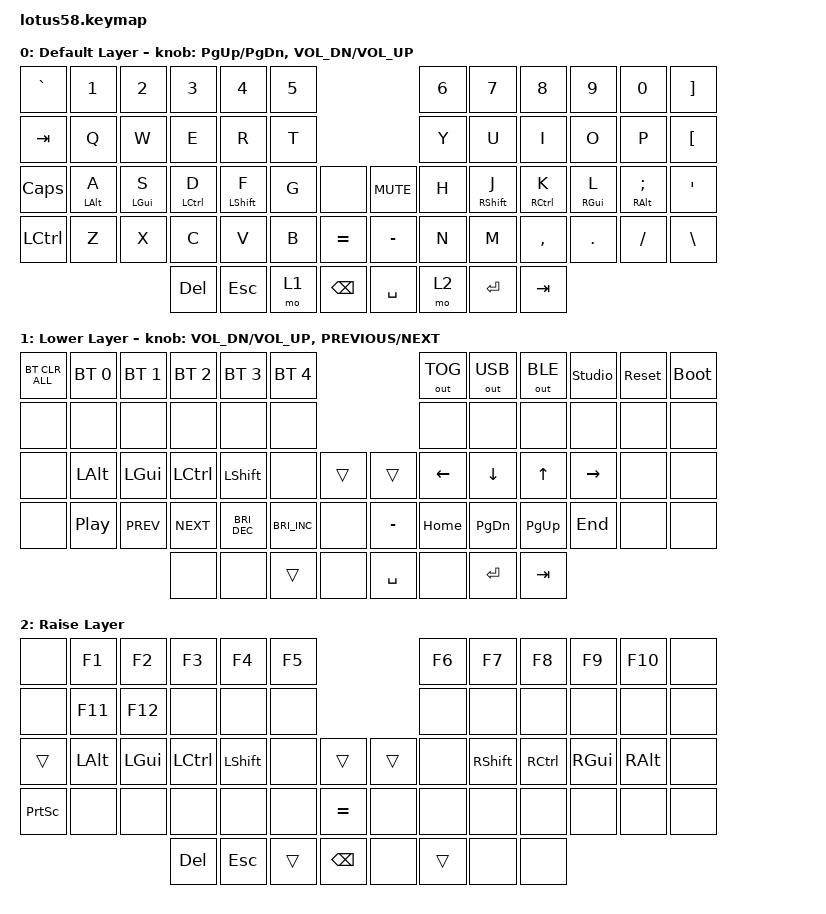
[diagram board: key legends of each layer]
/*
 * Copyright (c) 2022 The ZMK Contributors
 *
 * SPDX-License-Identifier: MIT
 */

#include <behaviors.dtsi>
#include <dt-bindings/zmk/bt.h>
#include <dt-bindings/zmk/keys.h>
#include <dt-bindings/zmk/outputs.h>

/*
// Encoders

&sensors { triggers-per-rotation = <30>; };

&left_encoder { steps = <60>; };

&right_encoder { steps = <60>; };
*/

&mt {
    tapping-term-ms = <150>;
    flavor = "tap-preferred";
};

/ {
    combos { compatible = "zmk,combos"; };

    keymap {
        compatible = "zmk,keymap";

        default_layer {
            display-name = "Default Layer";

            //   ------------------------------------------------------------------------------------------------------------
            //  0|  ESC  |  1  |  2  |  3   |  4   |  5   |                     |  6   |  7    |  8    |  9   |   0   |   =   | 11
            // 12|  TAB  |  Q  |  W  |  E   |  R   |  T   |                     |  Y   |  U    |  I    |  O   |   P   |   [   | 23
            // 24|  SFT  |  A  |  S  |  D   |  F   |  G   |  RESET  |  | RESET  |  H   |  J    |  K    |  L   |   ;   | ' SFT | 37
            // 38|  CTRL |  Z  |  X  |  C   |  V   |  B   |  MUTE   |  | PLAY   |  N   |  M    |  ,    |  .   |   /   | \ CTRL| 51
            // 52                    |ENT RS|  ALT | SPACE|DELETE LW|  |ENTER RS| BSPC |  ] LW | RGUI  |                        59

            bindings = <
&kp GRAVE  &kp N1          &kp N2          &kp N3       &kp NUMBER_4      &kp N5                             &kp N6  &kp N7             &kp N8       &kp N9           &kp N0              &kp RIGHT_BRACKET
&kp TAB    &kp Q           &kp W           &kp E        &kp R             &kp T                              &kp Y   &kp U              &kp I        &kp O            &kp P               &kp LEFT_BRACKET
&kp CAPS   &mt LEFT_ALT A  &mt LEFT_GUI S  &mt LCTRL D  &mt LEFT_SHIFT F  &kp G   &none          &kp C_MUTE  &kp H   &mt RIGHT_SHIFT J  &mt RCTRL K  &mt RIGHT_GUI L  &mt RIGHT_ALT SEMI  &kp APOS
&kp LCTRL  &kp Z           &kp X           &kp C        &kp V             &kp B   &kp EQUAL      &kp MINUS   &kp N   &kp M              &kp COMMA    &kp DOT          &kp FSLH            &kp BACKSLASH
                                           &kp DEL      &kp ESCAPE        &mo 1   &kp BACKSPACE  &kp SPACE   &mo 2   &kp ENTER          &kp TAB
            >;

            sensor-bindings = <&inc_dec_kp PG_UP PG_DN &inc_dec_kp C_VOL_DN C_VOL_UP>;
        };

        lower_layer {
            display-name = "Lower Layer";

            // ------------------------------------------------------------------------------------------------------------
            // | `     |  F1 |  F2 |  F3  |  F4  |  F5  |                   |  F6  |  F7   |  F8   |  F9  |  F10  |  F11  |
            // |       |  !  | HOME|   ^  |  END |  %   |                   | VOL^ |  PGUP |  INS  |  ^   |  PSCR |   -   |
            // |       |  #  |  <- |   v  | ->   |  $   |        |  |       | VOLv |    <- |   ^   |  ->  |   ~   |   _   |
            // |       |  @  |  -  |  (   |  )   |  &   |        |  |       | MUTE |  PGDN |   v   |  :   |   *   |   |   |
            //                     |  F11 |      |      |        |  |       |      |       |  F12  |

            bindings = <
&bt BT_CLR_ALL  &bt BT_SEL 0      &bt BT_SEL 1  &bt BT_SEL 2  &bt BT_SEL 3          &bt BT_SEL 4                             &out OUT_TOG  &out OUT_USB  &out OUT_BLE  &studio_unlock  &sys_reset  &bootloader
&none           &none             &none         &none         &none                 &none                                    &none         &none         &none         &none           &none       &none
&none           &kp LEFT_ALT      &kp LEFT_GUI  &kp LCTRL     &kp LEFT_SHIFT        &none                 &trans  &trans     &kp LEFT      &kp DOWN      &kp UP        &kp RIGHT       &none       &none
&none           &kp C_PLAY_PAUSE  &kp C_PREV    &kp C_NEXT    &kp C_BRIGHTNESS_DEC  &kp C_BRIGHTNESS_INC  &none   &kp MINUS  &kp HOME      &kp PG_DN     &kp PG_UP     &kp END         &none       &none
                                                &none         &none                 &trans                &none   &kp SPACE  &none         &kp ENTER     &kp TAB
            >;

            sensor-bindings =
                <&inc_dec_kp C_VOL_DN C_VOL_UP>,
                <&inc_dec_kp C_PREVIOUS C_NEXT>;
        };

        raise_layer {
            display-name = "Raise Layer";

            // ------------------------------------------------------------------------------------------------------------
            // |BTCLR| BT1  | BT2  |  BT3  |  BT4  |  BT5 |                |OUTTOG|OUTUSB| OUTBT |      | RESET | FLASH |
            // |     | INS  | PSCR | GUI   | RESET |      |                | PGUP |      |   ^   |      |       |       |
            // |     | ALT  | CTRL | SHIFT | FLASH | CAPS |      |  |      | PGDN |   <- |   v   |  ->  |  DEL  | BSPC  |
            // |     | UNDO | CUT  | COPY  | PASTE |      |      |  |      |      |  |>  |  <|<| | |>|> |       |       |
            //                     |       |       |      |      |  |      |      |      |       |

            bindings = <
&none            &kp F1    &kp F2        &kp F3     &kp F4     &kp F5                         &kp F6  &kp F7     &kp F8     &kp F9         &kp F10        &none
&none            &kp F11   &kp F12       &none      &none      &none                          &none   &none      &none      &none          &none          &none
&trans           &kp LALT  &kp LEFT_GUI  &kp LCTRL  &kp LSHFT  &none   &trans         &trans  &none   &kp RSHFT  &kp RCTRL  &kp RIGHT_GUI  &kp RIGHT_ALT  &none
&kp PRINTSCREEN  &none     &none         &none      &none      &none   &kp EQUAL      &none   &none   &none      &none      &none          &none          &none
                                         &kp DEL    &kp ESC    &trans  &kp BACKSPACE  &none   &trans  &none      &none
            >;
        };
    };

    extra_layer {
        display-name = "Extra Layer";

        // ------------------------------------------------------------------------------------------------------------
        // |BTCLR| BT1  | BT2  |  BT3  |  BT4  |  BT5 |                |OUTTOG|OUTUSB| OUTBT |      | RESET | FLASH |
        // |     | INS  | PSCR | GUI   | RESET |      |                | PGUP |      |   ^   |      |       |       |
        // |     | ALT  | CTRL | SHIFT | FLASH | CAPS |      |  |      | PGDN |   <- |   v   |  ->  |  DEL  | BSPC  |
        // |     | UNDO | CUT  | COPY  | PASTE |      |      |  |      |      |  |>  |  <|<| | |>|> |       |       |
        //                     |       |       |      |      |  |      |      |      |       |

        bindings = <
&trans &trans &trans &trans &trans &trans                    &trans  &trans  &trans  &trans     &trans  &trans
&trans &trans &trans &trans &trans &trans                    &trans  &trans  &trans  &trans     &trans  &trans
&trans     &trans     &trans    &trans    &trans  &trans     &trans   &trans    &trans     &trans      &trans      &trans  &trans &trans
&trans     &trans   &trans    &trans   &trans  &trans       &trans   &trans    &trans        &trans      &trans    &trans &trans  &trans
                                     &trans       &trans       &trans       &trans   &trans    &trans        &trans        &trans
        >;

        sensor-bindings = <&inc_dec_kp C_VOL_DN C_VOL_UP &inc_dec_kp PG_UP PG_DN>;
    };
};
